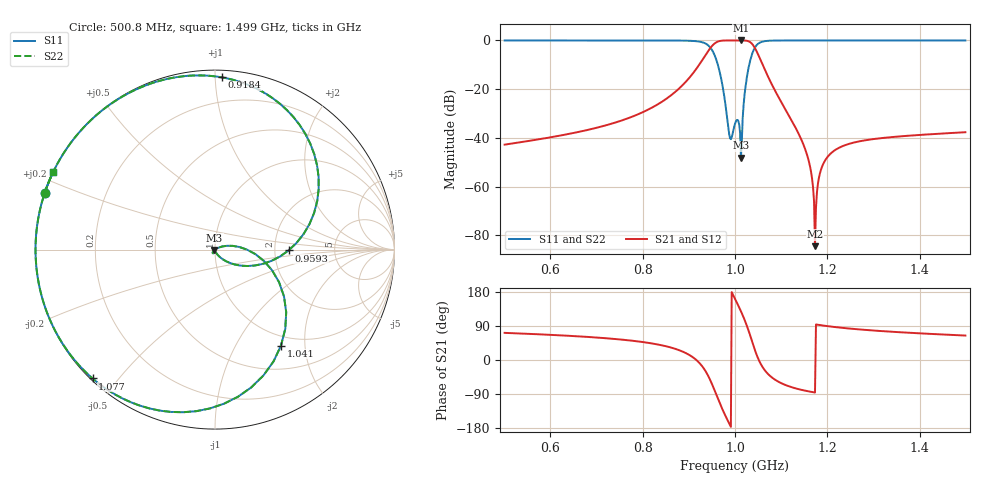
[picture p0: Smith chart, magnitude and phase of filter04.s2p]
# HZ S RI R 50.000000
! FREQ(HZ)  reS11  imS11  reS21  imS21  reS12  imS12  reS22  imS22
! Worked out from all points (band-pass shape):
!   605 points, 500.8 MHz to 1.499 GHz, reference 50 ohm
!   highest |S21| = 0.00 dB at 1.013 GHz (marker M1); lowest = -84.5 dB at 1.173 GHz (marker M2)
!   |S21| within 3 dB of the highest: 947.1 MHz to 1.043 GHz (95.86 MHz wide, 9.63 % of centre)
!   lowest |S11| = -48.1 dB at 1.013 GHz (marker M3), VSWR 1.01, Z = 49.7 - j0.243 ohm
!   |S11| at or under -10 dB: 962.9 MHz to 1.031 GHz (67.91 MHz wide, 6.81 % of centre)
!   |S22| runs from -48.1 to 0.0 dB; largest |S21 - S12| = 0
!   S11 on the Smith chart (normalised r, x): 500.8 MHz: 0.00, +0.16; 918.4 MHz: 0.04, +1.04; 959.3 MHz: 2.39, -0.03; 1.041 GHz: 0.84, -1.56; 1.077 GHz: 0.01, -0.43; 1.499 GHz: 0.00, +0.23
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5.007875e8  -0.9489 0.3154  0.00229 0.0069  0.00229 0.0069  -0.9489 0.3154
6.683824e8  -0.8817 0.4716  0.00647 0.0121  0.00647 0.0121  -0.8817 0.4716
8.341075e8  -0.6501 0.7582  0.0378 0.0324  0.0378 0.0324  -0.6501 0.7582
9.183592e8  0.0382 0.9596  0.2786 -0.0111  0.2786 -0.0111  0.0382 0.9596
9.437133e8  0.5529 0.532  0.4447 -0.4622  0.4447 -0.4622  0.5529 0.532
9.592605e8  0.4097 -0.00492  -0.011 -0.9122  -0.011 -0.9122  0.4097 -0.00492
9.715297e8  0.1129 -0.0838  -0.59 -0.7951  -0.59 -0.7951  0.1129 -0.0838
9.875352e8  0.00253 -0.0116  -0.9769 -0.2132  -0.9769 -0.2132  0.00253 -0.0116
1.000166e9  -0.00627 -0.0186  -0.9473 0.3199  -0.9473 0.3199  -0.00627 -0.0186
1.012958e9  -0.00307 -0.00244  -0.6232 0.782  -0.6232 0.782  -0.00307 -0.00244
1.027779e9  0.2254 -0.0255  0.1097 0.9677  0.1097 0.9677  0.2254 -0.0255
1.040924e9  0.3675 -0.5353  0.627 0.4304  0.627 0.4304  0.3675 -0.5353
1.054238e9  -0.1044 -0.9002  0.42 -0.0487  0.42 -0.0487  -0.1044 -0.9002
1.077459e9  -0.682 -0.718  0.1009 -0.0959  0.1009 -0.0959  -0.682 -0.718
1.148149e9  -0.9845 -0.1752  0.00129 -0.00727  0.00129 -0.00727  -0.9845 -0.1752
1.160724e9  -0.9926 -0.1211  0.000379 -0.0031  0.000379 -0.0031  -0.9926 -0.1211
1.167064e9  -0.9953 -0.0964  0.000142 -0.00147  0.000142 -0.00147  -0.9953 -0.0964
1.173438e9  -0.9973 -0.0732  4.39e-06 -5.97e-05  4.39e-06 -5.97e-05  -0.9973 -0.0732
1.190606e9  -0.9998 -0.0173  -4.91e-05 0.00283  -4.91e-05 0.00283  -0.9998 -0.0173
1.21242e9  -0.9991 0.0427  0.000224 0.00523  0.000224 0.00523  -0.9991 0.0427
1.334884e9  -0.9656 0.2599  0.00267 0.00993  0.00267 0.00993  -0.9656 0.2599
1.499366e9  -0.9026 0.4302  0.00563 0.0118  0.00563 0.0118  -0.9026 0.4302
